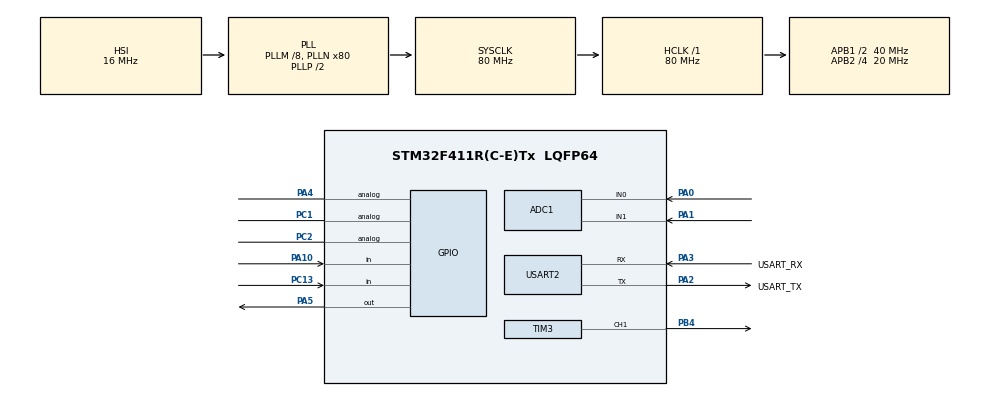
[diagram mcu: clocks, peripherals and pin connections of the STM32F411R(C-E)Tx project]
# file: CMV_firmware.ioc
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ADC1.Channel-0\#ChannelRegularConversion=ADC_CHANNEL_0
ADC1.ContinuousConvMode=DISABLE
ADC1.DMAContinuousRequests=DISABLE
ADC1.InjNumberOfConversion=0
ADC1.NbrOfConversionFlag=1
ADC1.Rank-0\#ChannelRegularConversion=1
ADC1.SamplingTime-0\#ChannelRegularConversion=ADC_SAMPLETIME_84CYCLES
ADC1.master=1
FREERTOS.Tasks01=defaultTask,0,128,StartDefaultTask,Default,NULL,Dynamic,NULL,NULL;Task_CapteurTEM,2,512,StartTask_CapteurTEMP,Default,NULL,Dynamic,NULL,NULL;Task_Envoie,-3,512,StartTask_Envoie,Default,NULL,Dynamic,NULL,NULL;Task_CapteurVIT,1,128,StartTask_CapteurVIT,Default,NULL,Dynamic,NULL,NULL
Mcu.Family=STM32F4
Mcu.Name=STM32F411R(C-E)Tx
Mcu.Package=LQFP64
NVIC.PriorityGroup=NVIC_PRIORITYGROUP_4
NVIC.TIM1_UP_TIM10_IRQn=true\:5\:0\:false\:false\:true\:true\:true\:true\:true
NVIC.TIM2_IRQn=true\:15\:0\:false\:false\:true\:false\:false\:true\:true
NVIC.TimeBase=TIM2_IRQn
NVIC.TimeBaseIP=TIM2
NVIC.USART2_IRQn=true\:5\:0\:false\:false\:true\:true\:true\:true\:true
PA0-WKUP.Signal=ADCx_IN0
PA1.Signal=ADCx_IN1
PA10.Signal=GPIO_Input
PA13.GPIO_Label=TMS
PA13.Signal=SYS_JTMS-SWDIO
PA14.GPIO_Label=TCK
PA14.Signal=SYS_JTCK-SWCLK
PA2.GPIO_Label=USART_TX
PA2.Mode=Asynchronous
PA2.Signal=USART2_TX
PA3.GPIO_Label=USART_RX
PA3.Mode=Asynchronous
PA3.Signal=USART2_RX
PA4.Signal=GPIO_Analog
PA5.Signal=GPIO_Output
PB3.GPIO_Label=SWO
PB3.Signal=SYS_JTDO-SWO
PB4.Signal=S_TIM3_CH1
PC1.Signal=GPIO_Analog
PC13-ANTI_TAMP.Signal=GPIO_Input
PC14-OSC32_IN.Mode=LSE-External-Oscillator
PC14-OSC32_IN.Signal=RCC_OSC32_IN
PC15-OSC32_OUT.Mode=LSE-External-Oscillator
PC15-OSC32_OUT.Signal=RCC_OSC32_OUT
PC2.Signal=GPIO_Analog
PH0\ -\ OSC_IN.Mode=HSE-External-Clock-Source
PH0\ -\ OSC_IN.Signal=RCC_OSC_IN
PH1\ -\ OSC_OUT.Mode=HSE-External-Clock-Source
PH1\ -\ OSC_OUT.Signal=RCC_OSC_OUT
ProjectManager.HeapSize=0x200
ProjectManager.StackSize=0x400
ProjectManager.TargetToolchain=STM32CubeIDE
RCC.48MHZClocksFreq_Value=40000000
RCC.AHBFreq_Value=80000000
RCC.APB1CLKDivider=RCC_HCLK_DIV2
RCC.APB1Freq_Value=40000000
RCC.APB1TimFreq_Value=80000000
RCC.APB2CLKDivider=RCC_HCLK_DIV4
RCC.APB2Freq_Value=20000000
RCC.APB2TimFreq_Value=40000000
RCC.CortexFreq_Value=80000000
RCC.FLatency-AdvancedSettings=FLASH_LATENCY_2
RCC.HCLKFreq_Value=80000000
RCC.HSE_VALUE=8000000
RCC.HSI_VALUE=16000000
RCC.PLLM=8
RCC.PLLN=80
RCC.SYSCLKFreq_VALUE=80000000
RCC.SYSCLKSource=RCC_SYSCLKSOURCE_PLLCLK
RCC.VCOOutputFreq_Value=160000000
SH.ADCx_IN0.0=ADC1_IN0,IN0
SH.ADCx_IN1.0=ADC1_IN1,IN1
SH.S_TIM3_CH1.0=TIM3_CH1,PWM Generation1 CH1
TIM1.Period=3
TIM1.Prescaler=9999
TIM3.Channel-PWM\ Generation1\ CH1=TIM_CHANNEL_1
TIM3.Period=9999
TIM3.Prescaler=79
TIM3.Pulse-PWM\ Generation1\ CH1=999
USART2.VirtualMode=VM_ASYNC
VP_FREERTOS_VS_CMSIS_V1.Mode=CMSIS_V1
VP_SYS_VS_tim2.Mode=TIM2
VP_TIM1_VS_ClockSourceINT.Mode=Internal
VP_TIM3_VS_ClockSourceINT.Mode=Internal
board=NUCLEO-F411RE

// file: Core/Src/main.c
/* USER CODE BEGIN Header */
/**
  ******************************************************************************
  * @file           : main.c
  * @brief          : Main program body
  ******************************************************************************
  * @attention
  *
  * Copyright (c) 2026 STMicroelectronics.
  * All rights reserved.
  *
  * This software is licensed under terms that can be found in the LICENSE file
  * in the root directory of this software component.
  * If no LICENSE file comes with this software, it is provided AS-IS.
  *
  ******************************************************************************
  */
/* USER CODE END Header */
#include "main.h"
#include "cmsis_os.h"

/* USER CODE BEGIN Includes */
#include <stdio.h>
#include <string.h>
#include <stdlib.h>
/* USER CODE END Includes */

ADC_HandleTypeDef hadc1;

TIM_HandleTypeDef htim1;
TIM_HandleTypeDef htim3;

UART_HandleTypeDef huart2;

osThreadId defaultTaskHandle;
osThreadId Task_CapteurTEMHandle;
osThreadId Task_EnvoieHandle;
osThreadId Task_CapteurVITHandle;

void SystemClock_Config(void);
static void MX_GPIO_Init(void);
static void MX_USART2_UART_Init(void);
static void MX_TIM1_Init(void);
static void MX_TIM3_Init(void);
static void MX_ADC1_Init(void);
void StartDefaultTask(void const * argument);
void StartTask_CapteurTEMP(void const * argument);
void StartTask_Envoie(void const * argument);
void StartTask_CapteurVIT(void const * argument);

/* USER CODE BEGIN PFP */
static uint32_t Read_ADC_Channel(uint32_t channel);

/* USER CODE END PFP */

/* USER CODE BEGIN 0 */
uint8_t uart_rx_byte = 0;
char uart_rx_line[32] = {'\0'};
uint8_t uart_rx_index = 0;

uint32_t ADCValue1;
uint32_t ADCValue2;

int encodeur;
int etat_encodeur = 0;
int etat_encodeur_prc = 0;

float resolution_Temp = 1;

float Temp1 = 12;
int Temp1_ent;
int Temp1_dec;

float Temp2 = 33;
int Temp2_ent;
int Temp2_dec;

volatile int duty = 25;
volatile int pending_pwm_ack_duty = -1;
volatile uint8_t pending_uart_error = 0;

#define UART_ERROR_PWM 1
#define UART_ERROR_CMD 2
#define UART_ERROR_OVERFLOW 3

/* USER CODE END 0 */

int main(void)
{

  /* MCU Configuration--------------------------------------------------------*/

  /* Reset of all peripherals, Initializes the Flash interface and the Systick. */
  HAL_Init();

  /* Configure the system clock */
  SystemClock_Config();

  /* Initialize all configured peripherals */
  MX_GPIO_Init();
  MX_USART2_UART_Init();
  MX_TIM1_Init();
  MX_TIM3_Init();
  MX_ADC1_Init();
  /* USER CODE BEGIN 2 */
  HAL_TIM_Base_Start_IT(&htim1);
  HAL_TIM_Base_Start_IT(&htim3);
  HAL_TIM_PWM_Start(&htim3, TIM_CHANNEL_1);

  HAL_UART_Receive_IT(&huart2, &uart_rx_byte, 1);

  ADCValue1 = Read_ADC_Channel(ADC_CHANNEL_0);
  ADCValue2 = Read_ADC_Channel(ADC_CHANNEL_1);

  /* USER CODE END 2 */

  /* Create the thread(s) */
  /* definition and creation of defaultTask */
  osThreadDef(defaultTask, StartDefaultTask, osPriorityNormal, 0, 128);
  defaultTaskHandle = osThreadCreate(osThread(defaultTask), NULL);

  /* definition and creation of Task_CapteurTEM */
  osThreadDef(Task_CapteurTEM, StartTask_CapteurTEMP, osPriorityHigh, 0, 512);
  Task_CapteurTEMHandle = osThreadCreate(osThread(Task_CapteurTEM), NULL);

  /* definition and creation of Task_Envoie */
  osThreadDef(Task_Envoie, StartTask_Envoie, osPriorityIdle, 0, 512);
  Task_EnvoieHandle = osThreadCreate(osThread(Task_Envoie), NULL);

  /* definition and creation of Task_CapteurVIT */
  osThreadDef(Task_CapteurVIT, StartTask_CapteurVIT, osPriorityAboveNormal, 0, 128);
  Task_CapteurVITHandle = osThreadCreate(osThread(Task_CapteurVIT), NULL);

  /* Start scheduler */
  osKernelStart();

  /* We should never get here as control is now taken by the scheduler */

  /* Infinite loop */
  while (1)
  {

  }
}

void SystemClock_Config(void)
{
  RCC_OscInitTypeDef RCC_OscInitStruct = {0};
  RCC_ClkInitTypeDef RCC_ClkInitStruct = {0};

  /** Configure the main internal regulator output voltage
  */
  __HAL_RCC_PWR_CLK_ENABLE();
  __HAL_PWR_VOLTAGESCALING_CONFIG(PWR_REGULATOR_VOLTAGE_SCALE1);

  /** Initializes the RCC Oscillators according to the specified parameters
  * in the RCC_OscInitTypeDef structure.
  */
  RCC_OscInitStruct.OscillatorType = RCC_OSCILLATORTYPE_HSI;
  RCC_OscInitStruct.HSIState = RCC_HSI_ON;
  RCC_OscInitStruct.HSICalibrationValue = RCC_HSICALIBRATION_DEFAULT;
  RCC_OscInitStruct.PLL.PLLState = RCC_PLL_ON;
  RCC_OscInitStruct.PLL.PLLSource = RCC_PLLSOURCE_HSI;
  RCC_OscInitStruct.PLL.PLLM = 8;
  RCC_OscInitStruct.PLL.PLLN = 80;
  RCC_OscInitStruct.PLL.PLLP = RCC_PLLP_DIV2;
  RCC_OscInitStruct.PLL.PLLQ = 4;
  if (HAL_RCC_OscConfig(&RCC_OscInitStruct) != HAL_OK)
  {
    Error_Handler();
  }

  /** Initializes the CPU, AHB and APB buses clocks
  */
  RCC_ClkInitStruct.ClockType = RCC_CLOCKTYPE_HCLK|RCC_CLOCKTYPE_SYSCLK
                              |RCC_CLOCKTYPE_PCLK1|RCC_CLOCKTYPE_PCLK2;
  RCC_ClkInitStruct.SYSCLKSource = RCC_SYSCLKSOURCE_PLLCLK;
  RCC_ClkInitStruct.AHBCLKDivider = RCC_SYSCLK_DIV1;
  RCC_ClkInitStruct.APB1CLKDivider = RCC_HCLK_DIV2;
  RCC_ClkInitStruct.APB2CLKDivider = RCC_HCLK_DIV4;

  if (HAL_RCC_ClockConfig(&RCC_ClkInitStruct, FLASH_LATENCY_2) != HAL_OK)
  {
    Error_Handler();
  }
}

static void MX_ADC1_Init(void)
{

  ADC_ChannelConfTypeDef sConfig = {0};

  /** Configure the global features of the ADC (Clock, Resolution, Data Alignment and number of conversion)
  */
  hadc1.Instance = ADC1;
  hadc1.Init.ClockPrescaler = ADC_CLOCK_SYNC_PCLK_DIV2;
  hadc1.Init.Resolution = ADC_RESOLUTION_12B;
  hadc1.Init.ScanConvMode = DISABLE;
  hadc1.Init.ContinuousConvMode = DISABLE;
  hadc1.Init.DiscontinuousConvMode = DISABLE;
  hadc1.Init.ExternalTrigConvEdge = ADC_EXTERNALTRIGCONVEDGE_NONE;
  hadc1.Init.ExternalTrigConv = ADC_SOFTWARE_START;
  hadc1.Init.DataAlign = ADC_DATAALIGN_RIGHT;
  hadc1.Init.NbrOfConversion = 1;
  hadc1.Init.DMAContinuousRequests = DISABLE;
  hadc1.Init.EOCSelection = ADC_EOC_SINGLE_CONV;
  if (HAL_ADC_Init(&hadc1) != HAL_OK)
  {
    Error_Handler();
  }

  /** Configure for the selected ADC regular channel its corresponding rank in the sequencer and its sample time.
  */
  sConfig.Channel = ADC_CHANNEL_0;
  sConfig.Rank = 1;
  sConfig.SamplingTime = ADC_SAMPLETIME_84CYCLES;
  if (HAL_ADC_ConfigChannel(&hadc1, &sConfig) != HAL_OK)
  {
    Error_Handler();
  }

}

static void MX_TIM1_Init(void)
{

  TIM_ClockConfigTypeDef sClockSourceConfig = {0};
  TIM_MasterConfigTypeDef sMasterConfig = {0};

  htim1.Instance = TIM1;
  htim1.Init.Prescaler = 9999;
  htim1.Init.CounterMode = TIM_COUNTERMODE_UP;
  htim1.Init.Period = 3;
  htim1.Init.ClockDivision = TIM_CLOCKDIVISION_DIV1;
  htim1.Init.RepetitionCounter = 0;
  htim1.Init.AutoReloadPreload = TIM_AUTORELOAD_PRELOAD_DISABLE;
  if (HAL_TIM_Base_Init(&htim1) != HAL_OK)
  {
    Error_Handler();
  }
  sClockSourceConfig.ClockSource = TIM_CLOCKSOURCE_INTERNAL;
  if (HAL_TIM_ConfigClockSource(&htim1, &sClockSourceConfig) != HAL_OK)
  {
    Error_Handler();
  }
  sMasterConfig.MasterOutputTrigger = TIM_TRGO_RESET;
  sMasterConfig.MasterSlaveMode = TIM_MASTERSLAVEMODE_DISABLE;
  if (HAL_TIMEx_MasterConfigSynchronization(&htim1, &sMasterConfig) != HAL_OK)
  {
    Error_Handler();
  }

}

static void MX_TIM3_Init(void)
{

  TIM_ClockConfigTypeDef sClockSourceConfig = {0};
  TIM_MasterConfigTypeDef sMasterConfig = {0};
  TIM_OC_InitTypeDef sConfigOC = {0};

  htim3.Instance = TIM3;
  htim3.Init.Prescaler = 79;
  htim3.Init.CounterMode = TIM_COUNTERMODE_UP;
  htim3.Init.Period = 9999;
  htim3.Init.ClockDivision = TIM_CLOCKDIVISION_DIV1;
  htim3.Init.AutoReloadPreload = TIM_AUTORELOAD_PRELOAD_DISABLE;
  if (HAL_TIM_Base_Init(&htim3) != HAL_OK)
  {
    Error_Handler();
  }
  sClockSourceConfig.ClockSource = TIM_CLOCKSOURCE_INTERNAL;
  if (HAL_TIM_ConfigClockSource(&htim3, &sClockSourceConfig) != HAL_OK)
  {
    Error_Handler();
  }
  if (HAL_TIM_PWM_Init(&htim3) != HAL_OK)
  {
    Error_Handler();
  }
  sMasterConfig.MasterOutputTrigger = TIM_TRGO_RESET;
  sMasterConfig.MasterSlaveMode = TIM_MASTERSLAVEMODE_DISABLE;
  if (HAL_TIMEx_MasterConfigSynchronization(&htim3, &sMasterConfig) != HAL_OK)
  {
    Error_Handler();
  }
  sConfigOC.OCMode = TIM_OCMODE_PWM1;
  sConfigOC.Pulse = 999;
  sConfigOC.OCPolarity = TIM_OCPOLARITY_HIGH;
  sConfigOC.OCFastMode = TIM_OCFAST_DISABLE;
  if (HAL_TIM_PWM_ConfigChannel(&htim3, &sConfigOC, TIM_CHANNEL_1) != HAL_OK)
  {
    Error_Handler();
  }
  HAL_TIM_MspPostInit(&htim3);

}

static void MX_USART2_UART_Init(void)
{

  huart2.Instance = USART2;
  huart2.Init.BaudRate = 115200;
  huart2.Init.WordLength = UART_WORDLENGTH_8B;
  huart2.Init.StopBits = UART_STOPBITS_1;
  huart2.Init.Parity = UART_PARITY_NONE;
  huart2.Init.Mode = UART_MODE_TX_RX;
  huart2.Init.HwFlowCtl = UART_HWCONTROL_NONE;
  huart2.Init.OverSampling = UART_OVERSAMPLING_16;
  if (HAL_UART_Init(&huart2) != HAL_OK)
  {
    Error_Handler();
  }

}

static void MX_GPIO_Init(void)
{
  GPIO_InitTypeDef GPIO_InitStruct = {0};

  /* GPIO Ports Clock Enable */
  __HAL_RCC_GPIOC_CLK_ENABLE();
  __HAL_RCC_GPIOH_CLK_ENABLE();
  __HAL_RCC_GPIOA_CLK_ENABLE();
  __HAL_RCC_GPIOB_CLK_ENABLE();

  /*Configure GPIO pin Output Level */
  HAL_GPIO_WritePin(GPIOA, GPIO_PIN_5, GPIO_PIN_RESET);

  /*Configure GPIO pin : PC13 */
  GPIO_InitStruct.Pin = GPIO_PIN_13;
  GPIO_InitStruct.Mode = GPIO_MODE_INPUT;
  GPIO_InitStruct.Pull = GPIO_NOPULL;
  HAL_GPIO_Init(GPIOC, &GPIO_InitStruct);

  /*Configure GPIO pins : PC1 PC2 */
  GPIO_InitStruct.Pin = GPIO_PIN_1|GPIO_PIN_2;
  GPIO_InitStruct.Mode = GPIO_MODE_ANALOG;
  GPIO_InitStruct.Pull = GPIO_NOPULL;
  HAL_GPIO_Init(GPIOC, &GPIO_InitStruct);

  /*Configure GPIO pin : PA4 */
  GPIO_InitStruct.Pin = GPIO_PIN_4;
  GPIO_InitStruct.Mode = GPIO_MODE_ANALOG;
  GPIO_InitStruct.Pull = GPIO_NOPULL;
  HAL_GPIO_Init(GPIOA, &GPIO_InitStruct);

  /*Configure GPIO pin : PA5 */
  GPIO_InitStruct.Pin = GPIO_PIN_5;
  GPIO_InitStruct.Mode = GPIO_MODE_OUTPUT_PP;
  GPIO_InitStruct.Pull = GPIO_NOPULL;
  GPIO_InitStruct.Speed = GPIO_SPEED_FREQ_LOW;
  HAL_GPIO_Init(GPIOA, &GPIO_InitStruct);

  /*Configure GPIO pin : PA10 */
  GPIO_InitStruct.Pin = GPIO_PIN_10;
  GPIO_InitStruct.Mode = GPIO_MODE_INPUT;
  GPIO_InitStruct.Pull = GPIO_NOPULL;
  HAL_GPIO_Init(GPIOA, &GPIO_InitStruct);

}

/* USER CODE BEGIN 4 */

/*
 * Single software-triggered conversion on one ADC1 channel.
 * ADC1 has a single regular sequencer: selecting the channel before each
 * conversion is what lets PA0 and PA1 be read with one handle.
 */
static uint32_t Read_ADC_Channel(uint32_t channel)
{
    ADC_ChannelConfTypeDef sConfig = {0};
    uint32_t value = 0;

    sConfig.Channel = channel;
    sConfig.Rank = 1;
    sConfig.SamplingTime = ADC_SAMPLETIME_84CYCLES;
    if (HAL_ADC_ConfigChannel(&hadc1, &sConfig) != HAL_OK) {
        Error_Handler();
    }
    if (HAL_ADC_Start(&hadc1) != HAL_OK) {
        Error_Handler();
    }
    if (HAL_ADC_PollForConversion(&hadc1, 10) == HAL_OK) {
        value = HAL_ADC_GetValue(&hadc1);
    }
    HAL_ADC_Stop(&hadc1);
    return value;
}

static int clamp_int(int value, int min, int max)
{
    if (value < min) {
        return min;
    }

    if (value > max) {
        return max;
    }

    return value;
}

static void send_uart_text(const char *text)
{
    HAL_UART_Transmit(&huart2, (uint8_t*)text, (uint16_t)strlen(text), 100);
}

static void send_pending_uart_status(void)
{
    if (pending_pwm_ack_duty >= 0) {
        int ack_duty = pending_pwm_ack_duty;
        pending_pwm_ack_duty = -1;

        char ack[40];
        snprintf(ack, sizeof(ack), "ACK;PWM;%d;COMMANDE_RECUE\r\n", ack_duty);
        send_uart_text(ack);
    }

    if (pending_uart_error != 0) {
        uint8_t error = pending_uart_error;
        pending_uart_error = 0;

        switch (error) {
            case UART_ERROR_PWM:
                send_uart_text("ERR;PWM\r\n");
                break;

            case UART_ERROR_CMD:
                send_uart_text("ERR;CMD\r\n");
                break;

            case UART_ERROR_OVERFLOW:
                send_uart_text("ERR;OVERFLOW\r\n");
                break;

            default:
                send_uart_text("ERR;UNKNOWN\r\n");
                break;
        }
    }
}

static void handle_uart_command(const char *line)
{
    const char *value_start = NULL;

    if (strncmp(line, "PWM;", 4) == 0) {
        value_start = &line[4];
    } else {
        pending_uart_error = UART_ERROR_CMD;
        return;
    }

    char *end_ptr = NULL;
    float requested_duty = strtof(value_start, &end_ptr);

    if (end_ptr == value_start) {
        pending_uart_error = UART_ERROR_PWM;
        return;
    }

    if (requested_duty < 0.0f) {
        requested_duty = 0.0f;
    } else if (requested_duty > 100.0f) {
        requested_duty = 100.0f;
    }

    duty = clamp_int((int)(requested_duty + 0.5f), 0, 100);
    pending_pwm_ack_duty = duty;
}

void HAL_UART_RxCpltCallback(UART_HandleTypeDef *huart) {
    if (huart->Instance != USART2) {
        return;
    }

    char received = (char)uart_rx_byte;

    if (received == '\n' || received == '\r') {
        if (uart_rx_index > 0) {
            uart_rx_line[uart_rx_index] = '\0';
            handle_uart_command(uart_rx_line);
            memset(uart_rx_line, 0, sizeof(uart_rx_line));
            uart_rx_index = 0;
        }
    } else if (uart_rx_index < sizeof(uart_rx_line) - 1) {
        uart_rx_line[uart_rx_index++] = received;
    } else {
        memset(uart_rx_line, 0, sizeof(uart_rx_line));
        uart_rx_index = 0;
        pending_uart_error = UART_ERROR_OVERFLOW;
    }

    HAL_UART_Receive_IT(&huart2, &uart_rx_byte, 1);
}

void HAL_UART_ErrorCallback(UART_HandleTypeDef *huart)
{
    if (huart->Instance == USART2) {
        memset(uart_rx_line, 0, sizeof(uart_rx_line));
        uart_rx_index = 0;
        HAL_UART_Receive_IT(&huart2, &uart_rx_byte, 1);
    }
}

/* USER CODE END 4 */

void StartDefaultTask(void const * argument)
{
  /* USER CODE BEGIN 5 */
	//osDelay (1000);  // 3 sec delay
  /* Infinite loop */
  for(;;)
  {
	TIM3->CCR1 = (9999 * duty) / 100;

    osDelay(333);
  }
  /* USER CODE END 5 */
}

void StartTask_CapteurTEMP(void const * argument)
{
  /* USER CODE BEGIN StartTask_CapteurTEMP */
  /* Infinite loop */
  for(;;)
  {
	  ADCValue1 = Read_ADC_Channel(ADC_CHANNEL_0); // PA0

	  //valeur décimale
	  Temp1 = ADCValue1 * resolution_Temp;
	  Temp1_ent = Temp1; //partie entière de la température
	  Temp1_dec = (Temp1-Temp1_ent) * 10; //partie décimale de la température (1 chiffre signicative)

	  ADCValue2 = Read_ADC_Channel(ADC_CHANNEL_1); // PA1

	  //valeur décimale
	  Temp2 = ADCValue2 * resolution_Temp;
	  Temp2_ent = Temp2; //partie entière de la température
	  Temp2_dec = (Temp2-Temp2_ent) * 10; //partie décimale de la température (1 chiffre signicative)

    osDelay(1);
  }
  /* USER CODE END StartTask_CapteurTEMP */
}

void StartTask_Envoie(void const * argument)
{
  /* USER CODE BEGIN StartTask_Envoie */
  /* Infinite loop */
  for(;;)
  {
	char frame[48];

	send_pending_uart_status();

	/* Measurement frame "count|temp1|temp2|duty\r\n" (see README).
	 * Integer formatting: no dependency on newlib-nano float printf,
	 * which is only enabled in the Debug configuration. */
	snprintf(frame, sizeof(frame), "%d|%d.%d|%d.%d|%d\r\n",
	         encodeur, Temp1_ent, Temp1_dec, Temp2_ent, Temp2_dec, duty);
	send_uart_text(frame);

    osDelay(500);
  }
  /* USER CODE END StartTask_Envoie */
}

void StartTask_CapteurVIT(void const * argument)
{
  /* USER CODE BEGIN StartTask_CapteurVIT */
  /* Infinite loop */
  for(;;)
  {
	if(HAL_GPIO_ReadPin(GPIOA, GPIO_PIN_10))
	{
	  etat_encodeur = 1;
	}
	else
	{
	  etat_encodeur = 0;
	}

	if((etat_encodeur_prc==0)&&(etat_encodeur==1))
	{
	  encodeur++;
	}

	etat_encodeur_prc = etat_encodeur;

    osDelay(3);
  }
  /* USER CODE END StartTask_CapteurVIT */
}

void HAL_TIM_PeriodElapsedCallback(TIM_HandleTypeDef *htim)
{
  if (htim->Instance == TIM2)
  {
    HAL_IncTick();
  }
}

void Error_Handler(void)
{
  __disable_irq();
  while (1)
  {
  }
}
